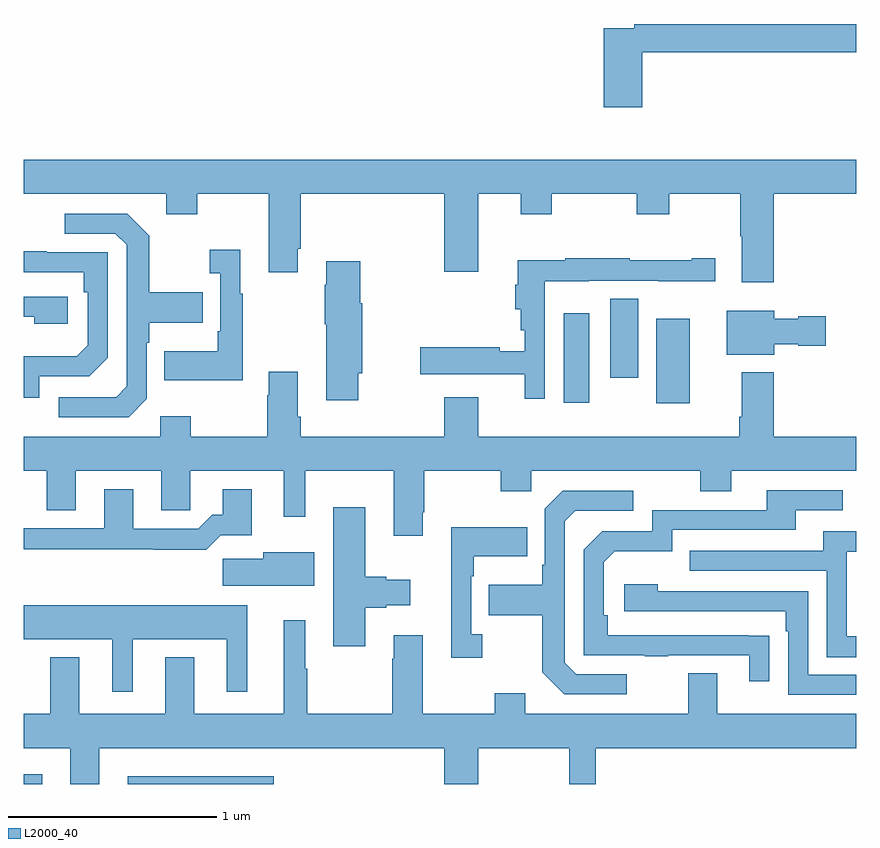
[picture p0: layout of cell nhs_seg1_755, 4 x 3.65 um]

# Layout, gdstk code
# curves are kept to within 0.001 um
import gdstk
lib = gdstk.Library(unit=1e-6, precision=1e-09)
def R(c, l, rs):  # rectangles x0, y0, x1, y1
    for r in rs: c.add(gdstk.rectangle(r[:2], r[2:], *l))
def P(c, l, *ps):  # polygons
    for p in ps: c.add(gdstk.Polygon(p, *l))
L2000_40 = (2000, 40)

nhs_seg1_755 = lib.new_cell('nhs_seg1_755')
R(nhs_seg1_755, L2000_40, [(151,578.199,151.087,578.245), (151.499,578.199,152.2,578.236), (154.04,580.029,154.201,580.435), (153.596,580.032,153.718,580.462), (153.818,580.152,153.952,580.532)])
P(nhs_seg1_755, L2000_40, [(153.971,581.716),(155,581.716),(155,581.852),(153.934,581.852),(153.934,581.832),(153.788,581.832),(153.788,581.451),(153.971,581.451)],
  [(151,581.036),(151.685,581.036),(151.685,580.937),(151.833,580.937),(151.833,581.036),(152.177,581.036),(152.177,580.659),(152.317,580.659),(152.317,580.771),(152.33,580.771),(152.33,581.036),(153.02,581.036),(153.02,580.662),(153.184,580.662),(153.184,581.036),(153.389,581.036),(153.389,580.937),(153.537,580.937),(153.537,581.036),(153.946,581.036),(153.946,580.937),(154.101,580.937),(154.101,581.036),(154.444,581.036),(154.444,580.832),(154.451,580.832),(154.451,580.611),(154.604,580.611),(154.604,581.036),(155,581.036),(155,581.2),(151,581.2)],
  [(151.59,580.05),(151.59,580.319),(151.603,580.319),(151.603,580.415),(151.859,580.415),(151.859,580.563),(151.603,580.563),(151.603,580.835),(151.497,580.941),(151.197,580.941),(151.197,580.845),(151.44,580.845),(151.494,580.791),(151.494,580.11),(151.443,580.059),(151.167,580.059),(151.167,579.963),(151.503,579.963)],
  [(152.053,580.555),(152.041,580.555),(152.041,580.768),(151.893,580.768),(151.893,580.655),(151.944,580.655),(151.944,580.375),(151.932,580.375),(151.932,580.279),(151.675,580.279),(151.675,580.139),(152.053,580.139)],
  [(151.074,580.158),(151.314,580.158),(151.404,580.248),(151.404,580.755),(151.109,580.755),(151.109,580.76),(151,580.76),(151,580.659),(151.288,580.659),(151.288,580.562),(151.308,580.562),(151.308,580.308),(151.255,580.255),(151,580.255),(151,580.056),(151.074,580.056)],
  [(153.504,580.616),(153.714,580.616),(153.714,580.617),(154.048,580.617),(154.048,580.616),(154.324,580.616),(154.324,580.726),(154.211,580.726),(154.211,580.716),(153.911,580.716),(153.911,580.726),(153.601,580.726),(153.601,580.716),(153.374,580.716),(153.374,580.598),(153.362,580.598),(153.362,580.481),(153.388,580.481),(153.388,580.38),(153.408,580.38),(153.408,580.28),(153.288,580.28),(153.288,580.299),(152.904,580.299),(152.904,580.169),(153.408,580.169),(153.408,580.05),(153.504,580.05)],
  [(152.608,580.173),(152.626,580.173),(152.626,580.509),(152.616,580.509),(152.616,580.711),(152.453,580.711),(152.453,580.598),(152.446,580.598),(152.446,580.409),(152.453,580.409),(152.453,580.044),(152.608,580.044)],
  [(151.21,580.542),(151,580.542),(151,580.446),(151.049,580.446),(151.049,580.412),(151.21,580.412)],
  [(154.606,580.313),(154.722,580.313),(154.722,580.306),(154.855,580.306),(154.855,580.448),(154.722,580.448),(154.722,580.435),(154.606,580.435),(154.606,580.474),(154.379,580.474),(154.379,580.262),(154.606,580.262)],
  [(152.917,579.505),(152.925,579.505),(152.925,579.704),(153.292,579.704),(153.292,579.605),(153.438,579.605),(153.438,579.704),(154.252,579.704),(154.252,579.605),(154.399,579.605),(154.399,579.704),(155,579.704),(155,579.868),(154.604,579.868),(154.604,580.177),(154.451,580.177),(154.451,579.964),(154.439,579.964),(154.439,579.868),(153.184,579.868),(153.184,580.057),(153.02,580.057),(153.02,579.868),(152.33,579.868),(152.33,579.964),(152.317,579.964),(152.317,580.18),(152.177,580.18),(152.177,580.067),(152.17,580.067),(152.17,579.868),(151.803,579.868),(151.803,579.967),(151.656,579.967),(151.656,579.868),(151,579.868),(151,579.704),(151.109,579.704),(151.109,579.514),(151.249,579.514),(151.249,579.704),(151.661,579.704),(151.661,579.514),(151.8,579.514),(151.8,579.704),(152.249,579.704),(152.249,579.483),(152.353,579.483),(152.353,579.704),(152.777,579.704),(152.777,579.393),(152.917,579.393)],
  [(151.946,579.395),(152.095,579.395),(152.095,579.616),(151.955,579.616),(151.955,579.493),(151.906,579.493),(151.839,579.426),(151.525,579.426),(151.525,579.616),(151.385,579.616),(151.385,579.429),(151,579.429),(151,579.328),(151.621,579.328),(151.621,579.326),(151.877,579.326)],
  [(154.583,578.912),(153.806,578.913),(153.806,579.01),(153.786,579.01),(153.786,579.264),(153.839,579.317),(154.116,579.317),(154.116,579.42),(154.711,579.42),(154.711,579.516),(154.936,579.516),(154.936,579.612),(154.571,579.612),(154.571,579.516),(154.02,579.516),(154.02,579.414),(153.78,579.414),(153.69,579.324),(153.69,578.817),(153.985,578.817),(153.985,578.812),(154.097,578.812),(154.097,578.817),(154.487,578.817),(154.487,578.694),(154.583,578.694)],
  [(153.898,578.727),(153.654,578.727),(153.6,578.781),(153.6,579.462),(153.651,579.513),(153.928,579.513),(153.928,579.609),(153.591,579.609),(153.504,579.522),(153.504,579.253),(153.492,579.253),(153.492,579.157),(153.235,579.157),(153.235,579.01),(153.492,579.01),(153.492,578.737),(153.597,578.631),(153.898,578.631)],
  [(152.641,579.047),(152.741,579.047),(152.741,579.059),(152.857,579.059),(152.857,579.181),(152.741,579.181),(152.741,579.194),(152.641,579.194),(152.641,579.529),(152.486,579.529),(152.486,578.862),(152.641,578.862)],
  [(153.202,578.918),(153.15,578.918),(153.15,579.197),(153.163,579.197),(153.163,579.293),(153.419,579.293),(153.419,579.433),(153.053,579.433),(153.053,578.805),(153.202,578.805)],
  [(155,578.91),(154.956,578.91),(154.956,579.315),(155,579.315),(155,579.415),(154.841,579.415),(154.841,579.321),(154.201,579.321),(154.201,579.225),(154.86,579.225),(154.86,578.809),(155,578.809)],
  [(152.395,579.313),(152.15,579.313),(152.15,579.281),(151.956,579.281),(151.956,579.152),(152.395,579.152)],
  [(155,578.724),(154.77,578.724),(154.77,579.126),(154.046,579.126),(154.046,579.16),(153.885,579.16),(153.885,579.03),(154.661,579.03),(154.661,578.933),(154.674,578.933),(154.674,578.628),(155,578.628)],
  [(151.522,578.894),(151.976,578.894),(151.976,578.643),(152.074,578.643),(152.074,579.058),(151,579.058),(151,578.894),(151.424,578.894),(151.424,578.643),(151.522,578.643)],
  [(151.267,578.809),(151.127,578.809),(151.127,578.536),(151,578.536),(151,578.372),(151.223,578.372),(151.223,578.199),(151.363,578.199),(151.363,578.372),(153.02,578.372),(153.02,578.199),(153.184,578.199),(153.184,578.372),(153.621,578.372),(153.621,578.199),(153.749,578.199),(153.749,578.372),(155,578.372),(155,578.536),(154.333,578.536),(154.333,578.731),(154.193,578.731),(154.193,578.536),(153.409,578.536),(153.409,578.635),(153.262,578.635),(153.262,578.536),(152.917,578.536),(152.917,578.914),(152.777,578.914),(152.777,578.801),(152.77,578.801),(152.77,578.536),(152.363,578.536),(152.363,578.753),(152.353,578.753),(152.353,578.986),(152.249,578.986),(152.249,578.536),(151.819,578.536),(151.819,578.809),(151.679,578.809),(151.679,578.536),(151.267,578.536)])

lib.write_gds('nhs_seg1_755.gds')
